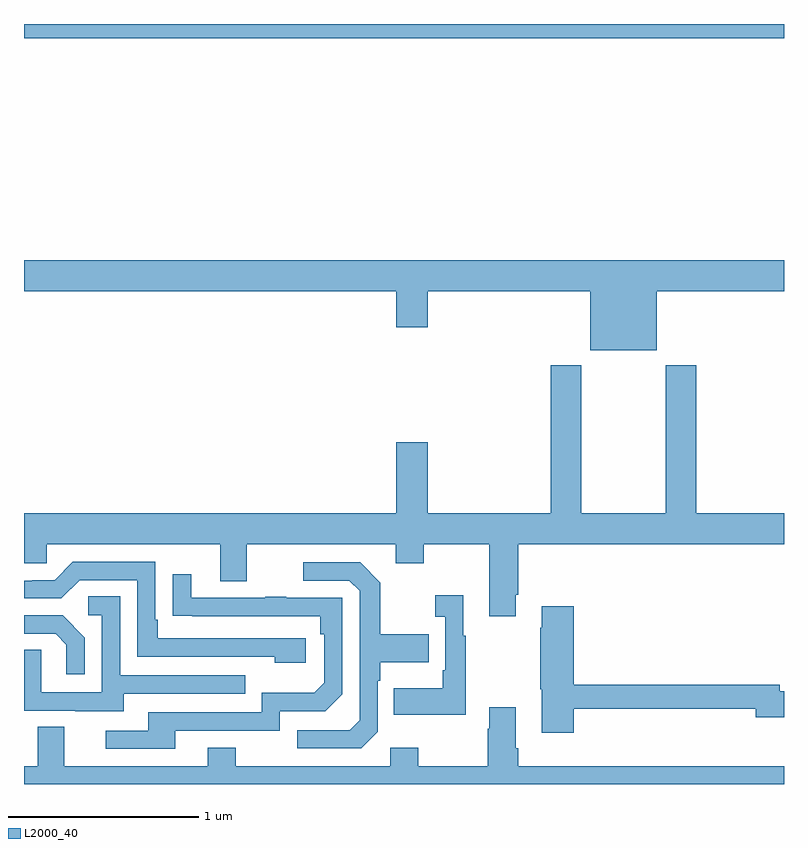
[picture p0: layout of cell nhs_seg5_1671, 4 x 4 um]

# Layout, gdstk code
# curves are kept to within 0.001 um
import gdstk
lib = gdstk.Library(unit=1e-6, precision=1e-09)
def R(c, l, rs):  # rectangles x0, y0, x1, y1
    for r in rs: c.add(gdstk.rectangle(r[:2], r[2:], *l))
def P(c, l, *ps):  # polygons
    for p in ps: c.add(gdstk.Polygon(p, *l))
L2000_40 = (2000, 40)

nhs_seg5_1671 = lib.new_cell('nhs_seg5_1671')
R(nhs_seg5_1671, L2000_40, [(211,892.724,215,892.799)])
P(nhs_seg5_1671, L2000_40, [(214.33,891.392),(215,891.392),(215,891.556),(211,891.556),(211,891.392),(212.96,891.392),(212.96,891.204),(213.124,891.204),(213.124,891.392),(213.98,891.392),(213.98,891.083),(214.33,891.083)],
  [(213.589,889.795),(213.602,889.795),(213.602,890.06),(215,890.06),(215,890.224),(214.538,890.224),(214.538,891.004),(214.378,891.004),(214.378,890.224),(213.933,890.224),(213.933,891.004),(213.773,891.004),(213.773,890.224),(213.124,890.224),(213.124,890.599),(212.96,890.599),(212.96,890.224),(211,890.224),(211,889.962),(211.119,889.962),(211.119,890.06),(212.033,890.06),(212.033,889.866),(212.173,889.866),(212.173,890.06),(212.957,890.06),(212.957,889.961),(213.105,889.961),(213.105,890.06),(213.449,890.06),(213.449,889.683),(213.589,889.683)],
  [(212.482,889.566),(211.705,889.566),(211.705,889.663),(211.692,889.663),(211.692,889.968),(211.257,889.968),(211.161,889.872),(211.043,889.872),(211.043,889.869),(211,889.869),(211,889.776),(211.197,889.776),(211.293,889.872),(211.596,889.872),(211.596,889.47),(212.321,889.47),(212.321,889.436),(212.482,889.436)],
  [(212.862,889.074),(212.862,889.343),(212.875,889.343),(212.875,889.439),(213.131,889.439),(213.131,889.587),(212.875,889.587),(212.875,889.859),(212.769,889.965),(212.469,889.965),(212.469,889.869),(212.712,889.869),(212.766,889.815),(212.766,889.134),(212.715,889.083),(212.439,889.083),(212.439,888.987),(212.775,888.987)],
  [(211.795,889.08),(212.346,889.08),(212.346,889.182),(212.586,889.182),(212.676,889.272),(212.676,889.779),(212.381,889.779),(212.381,889.784),(212.269,889.784),(212.269,889.779),(211.879,889.779),(211.879,889.903),(211.783,889.903),(211.783,889.684),(212.56,889.683),(212.56,889.586),(212.58,889.586),(212.58,889.332),(212.527,889.279),(212.25,889.279),(212.25,889.176),(211.655,889.176),(211.655,889.08),(211.431,889.08),(211.431,888.984),(211.795,888.984)],
  [(213.325,889.579),(213.313,889.579),(213.313,889.792),(213.165,889.792),(213.165,889.679),(213.216,889.679),(213.216,889.399),(213.204,889.399),(213.204,889.303),(212.947,889.303),(212.947,889.163),(213.325,889.163)],
  [(211.525,889.275),(212.165,889.275),(212.165,889.371),(211.506,889.371),(211.506,889.787),(211.338,889.787),(211.338,889.686),(211.41,889.686),(211.41,889.281),(211.092,889.281),(211.092,889.505),(211,889.505),(211,889.185),(211.271,889.185),(211.271,889.181),(211.525,889.181)],
  [(213.893,889.194),(214.85,889.194),(214.85,889.151),(215,889.151),(215,889.286),(214.978,889.286),(214.978,889.322),(213.893,889.322),(213.893,889.735),(213.725,889.735),(213.725,889.622),(213.718,889.622),(213.718,889.299),(213.725,889.299),(213.725,889.068),(213.893,889.068)],
  [(211.32,889.57),(211.204,889.686),(211,889.686),(211,889.59),(211.166,889.59),(211.223,889.533),(211.223,889.377),(211.32,889.377)],
  [(215,888.892),(213.602,888.892),(213.602,888.988),(213.589,888.988),(213.589,889.204),(213.449,889.204),(213.449,889.091),(213.442,889.091),(213.442,888.892),(213.075,888.892),(213.075,888.991),(212.928,888.991),(212.928,888.892),(212.115,888.892),(212.115,888.991),(211.967,888.991),(211.967,888.892),(211.213,888.892),(211.213,889.1),(211.073,889.1),(211.073,888.892),(211,888.892),(211,888.799),(215,888.799)])

lib.write_gds('nhs_seg5_1671.gds')
